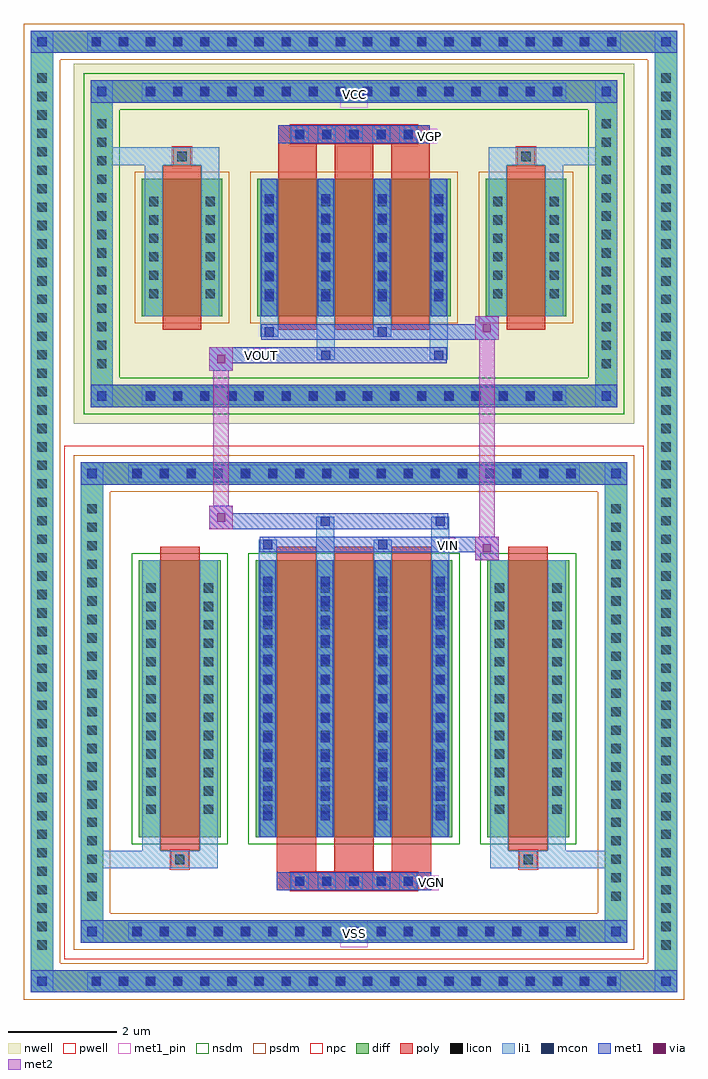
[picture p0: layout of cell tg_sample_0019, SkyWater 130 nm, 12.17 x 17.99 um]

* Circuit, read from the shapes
.subckt tg_sample_0019 VCC VGN VGP VIN VOUT VSS
XM1 VSS VSS VSS VSUBS sky130_fd_pr__nfet_01v8 w=5.1 l=0.73 m=2
XM2 VOUT VGN VIN VSUBS sky130_fd_pr__nfet_01v8 w=5.1 l=0.73 m=3
XM3 VCC VCC VCC n1 sky130_fd_pr__pfet_01v8 w=2.53 l=0.71 m=2
XM4 VOUT VGP VIN n1 sky130_fd_pr__pfet_01v8 w=2.53 l=0.71 m=3
.ends

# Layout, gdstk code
import gdstk
lib = gdstk.Library(unit=1e-6, precision=5e-09)
def R(c, l, rs):  # rectangles x0, y0, x1, y1
    for r in rs: c.add(gdstk.rectangle(r[:2], r[2:], *l))
def A(c, l, x, y, w, h, nx, ny, dx, dy):  # array of equal rectangles
    R(c, l, [(x+i*dx, y+j*dy, x+i*dx+w, y+j*dy+h) for i in range(nx) for j in range(ny)])
def P(c, l, *ps):  # polygons
    for p in ps: c.add(gdstk.Polygon(p, *l))
nwell = (64, 20)
pwell = (64, 44)
diff = (65, 20)
poly = (66, 20)
licon = (66, 44)
li1 = (67, 20)
mcon = (67, 44)
met1_pin = (68, 16)
met1 = (68, 20)
via = (68, 44)
met2 = (69, 20)
nsdm = (93, 44)
psdm = (94, 20)
npc = (95, 20)

tg_sample_0019 = lib.new_cell('tg_sample_0019')
R(tg_sample_0019, nwell, [(-5.165,5.135,5.165,11.775)])
R(tg_sample_0019, pwell, [(-5.345,-4.735,5.345,4.735)])
A(tg_sample_0019, diff, -4.955, -5.345, 0.41, 0.41, 20, 2, 0.5, 17.32)
A(tg_sample_0019, diff, -5.955, -4.675, 0.41, 0.41, 1, 48, 0, 0.34)
A(tg_sample_0019, diff, 5.545, -4.675, 0.41, 0.41, 1, 48, 0, 0.34)
A(tg_sample_0019, diff, -4.205, -4.425, 0.41, 0.41, 17, 2, 0.5, 8.44)
A(tg_sample_0019, diff, -5.035, -3.775, 0.41, 0.41, 1, 22, 0, 0.34)
A(tg_sample_0019, diff, 4.625, -3.775, 0.41, 0.41, 1, 22, 0, 0.34)
A(tg_sample_0019, diff, -3.955, 5.445, 0.41, 0.41, 16, 2, 0.5, 5.61)
A(tg_sample_0019, diff, -4.855, 6.04, 0.41, 0.41, 1, 14, 0, 0.34)
A(tg_sample_0019, diff, 4.445, 6.04, 0.41, 0.41, 1, 14, 0, 0.34)
R(tg_sample_0019, diff, [(-4.955,-5.345,4.955,-4.935), (-5.955,-4.675,-5.545,11.715), (5.545,-4.675,5.955,11.715), (-4.205,-4.425,4.205,-4.015), (-5.035,-3.775,-4.625,3.775), (4.625,-3.775,5.035,3.775), (-3.965,-2.48,-2.455,2.62), (-1.815,-2.48,1.815,2.62), (2.455,-2.48,3.965,2.62), (-4.205,4.015,4.205,4.425), (-3.955,5.445,3.955,5.855), (-4.855,6.04,-4.445,10.87), (4.445,6.04,4.855,10.87), (-3.915,7.12,-2.425,9.65), (-1.785,7.12,1.785,9.65), (2.425,7.12,3.915,9.65), (-3.955,11.055,3.955,11.465), (-4.955,11.975,4.955,12.385)])
P(tg_sample_0019, diff, [(5.035,4.425),(-5.035,4.425),(-5.035,-4.015),(-4.625,-4.015),(-4.625,4.015),(4.625,4.015),(4.625,-4.015),(-4.625,-4.015),(-5.035,-4.015),(-5.035,-4.425),(5.035,-4.425)],
  [(5.955,12.385),(-5.955,12.385),(-5.955,-4.935),(-5.545,-4.935),(-5.545,11.975),(5.545,11.975),(5.545,-4.935),(-5.545,-4.935),(-5.955,-4.935),(-5.955,-5.345),(5.955,-5.345)],
  [(4.855,5.445),(-4.855,5.445),(-4.855,11.055),(-4.445,11.055),(-4.445,5.855),(4.445,5.855),(4.445,11.055),(-4.445,11.055),(-4.855,11.055),(-4.855,11.465),(4.855,11.465)])
A(tg_sample_0019, poly, -1.165, -3.46, 0.33, 0.33, 5, 2, 0.5, 13.765)
A(tg_sample_0019, poly, -1.425, -3.13, 0.73, 0.4, 3, 1, 1.06, 0)
A(tg_sample_0019, poly, -1.425, -2.73, 0.73, 5.6, 3, 1, 1.06, 0)
A(tg_sample_0019, poly, -1.395, 6.87, 0.71, 3.03, 3, 1, 1.04, 0)
A(tg_sample_0019, poly, -1.395, 9.9, 0.71, 0.405, 3, 1, 1.04, 0)
R(tg_sample_0019, poly, [(-1.425,-3.46,1.425,-3.13), (-3.375,-3.06,-3.045,-2.73), (-3.375,-3.06,-3.045,-2.73), (3.045,-3.06,3.375,-2.73), (3.045,-3.06,3.375,-2.73), (-3.575,-2.73,-2.845,2.87), (2.845,-2.73,3.575,2.87), (-3.525,6.87,-2.815,9.9), (2.815,6.87,3.525,9.9), (-3.335,9.9,-3.005,10.23), (-3.335,9.9,-3.005,10.23), (3.005,9.9,3.335,10.23), (3.005,9.9,3.335,10.23), (-1.395,10.305,1.395,10.635)])
A(tg_sample_0019, licon, -4.835, -5.225, 0.17, 0.17, 20, 2, 0.5, 17.32)
A(tg_sample_0019, licon, -5.835, -4.555, 0.17, 0.17, 1, 48, 0, 0.34)
A(tg_sample_0019, licon, 5.665, -4.555, 0.17, 0.17, 1, 48, 0, 0.34)
A(tg_sample_0019, licon, -4.085, -4.305, 0.17, 0.17, 17, 2, 0.5, 8.44)
A(tg_sample_0019, licon, -4.915, -3.655, 0.17, 0.17, 1, 22, 0, 0.34)
A(tg_sample_0019, licon, 4.745, -3.655, 0.17, 0.17, 1, 22, 0, 0.34)
A(tg_sample_0019, licon, -1.085, -3.38, 0.17, 0.17, 5, 2, 0.5, 13.765)
A(tg_sample_0019, licon, -3.825, -2.055, 0.17, 0.17, 1, 13, 0, 0.34)
A(tg_sample_0019, licon, -2.765, -2.055, 0.17, 0.17, 1, 13, 0, 0.34)
A(tg_sample_0019, licon, -1.675, -2.055, 0.17, 0.17, 4, 13, 1.06, 0.34)
A(tg_sample_0019, licon, 2.595, -2.055, 0.17, 0.17, 1, 13, 0, 0.34)
A(tg_sample_0019, licon, 3.655, -2.055, 0.17, 0.17, 1, 13, 0, 0.34)
A(tg_sample_0019, licon, -3.835, 5.565, 0.17, 0.17, 16, 2, 0.5, 5.61)
A(tg_sample_0019, licon, -4.735, 6.16, 0.17, 0.17, 1, 14, 0, 0.34)
A(tg_sample_0019, licon, 4.565, 6.16, 0.17, 0.17, 1, 14, 0, 0.34)
A(tg_sample_0019, licon, -3.775, 7.45, 0.17, 0.17, 1, 6, 0, 0.34)
A(tg_sample_0019, licon, -2.735, 7.45, 0.17, 0.17, 1, 6, 0, 0.34)
A(tg_sample_0019, licon, -1.645, 7.45, 0.17, 0.17, 4, 6, 1.04, 0.34)
A(tg_sample_0019, licon, 2.565, 7.45, 0.17, 0.17, 1, 6, 0, 0.34)
A(tg_sample_0019, licon, 3.605, 7.45, 0.17, 0.17, 1, 6, 0, 0.34)
R(tg_sample_0019, licon, [(-3.295,-2.98,-3.125,-2.81), (3.125,-2.98,3.295,-2.81), (-3.255,9.98,-3.085,10.15), (3.085,9.98,3.255,10.15)])
A(tg_sample_0019, li1, -4.915, -5.305, 0.33, 0.33, 20, 2, 0.5, 17.32)
A(tg_sample_0019, li1, -5.915, -4.635, 0.33, 0.33, 1, 48, 0, 0.34)
A(tg_sample_0019, li1, 5.585, -4.635, 0.33, 0.33, 1, 48, 0, 0.34)
A(tg_sample_0019, li1, -4.165, -4.385, 0.33, 0.33, 17, 2, 0.5, 8.44)
A(tg_sample_0019, li1, -4.995, -3.735, 0.33, 0.33, 1, 22, 0, 0.34)
A(tg_sample_0019, li1, 4.665, -3.735, 0.33, 0.33, 1, 22, 0, 0.34)
A(tg_sample_0019, li1, -1.165, -3.46, 0.33, 0.33, 5, 2, 0.5, 13.765)
A(tg_sample_0019, li1, -1.755, -2.48, 0.33, 5.1, 4, 1, 1.06, 0)
A(tg_sample_0019, li1, -1.675, -2.175, 0.17, 0.17, 4, 13, 1.06, 0.36)
A(tg_sample_0019, li1, -1.675, -2.175, 0.17, 4.49, 4, 1, 1.06, 0)
A(tg_sample_0019, li1, -3.905, -2.135, 0.33, 0.33, 1, 13, 0, 0.34)
A(tg_sample_0019, li1, -2.845, -2.135, 0.33, 0.33, 1, 13, 0, 0.34)
A(tg_sample_0019, li1, -1.755, -2.135, 0.33, 0.33, 4, 13, 1.06, 0.34)
A(tg_sample_0019, li1, 2.515, -2.135, 0.33, 0.33, 1, 13, 0, 0.34)
A(tg_sample_0019, li1, 3.575, -2.135, 0.33, 0.33, 1, 13, 0, 0.34)
A(tg_sample_0019, li1, -3.915, 5.485, 0.33, 0.33, 16, 2, 0.5, 5.61)
A(tg_sample_0019, li1, -4.815, 6.08, 0.33, 0.33, 1, 14, 0, 0.34)
A(tg_sample_0019, li1, 4.485, 6.08, 0.33, 0.33, 1, 14, 0, 0.34)
A(tg_sample_0019, li1, -1.725, 7.12, 0.33, 2.53, 4, 1, 1.04, 0)
A(tg_sample_0019, li1, -3.855, 7.37, 0.33, 0.33, 1, 6, 0, 0.34)
A(tg_sample_0019, li1, -2.815, 7.37, 0.33, 0.33, 1, 6, 0, 0.34)
A(tg_sample_0019, li1, -1.725, 7.37, 0.33, 0.33, 4, 6, 1.04, 0.34)
A(tg_sample_0019, li1, 2.485, 7.37, 0.33, 0.33, 1, 6, 0, 0.34)
A(tg_sample_0019, li1, 3.525, 7.37, 0.33, 0.33, 1, 6, 0, 0.34)
A(tg_sample_0019, li1, -1.645, 7.4, 0.17, 0.17, 4, 6, 1.04, 0.36)
A(tg_sample_0019, li1, -1.645, 7.4, 0.17, 1.97, 4, 1, 1.04, 0)
R(tg_sample_0019, li1, [(-5.955,-5.345,-5.545,-4.935), (5.545,-5.345,5.955,-4.935), (-4.915,-5.305,4.915,-4.975), (-5.835,-5.225,-5.665,-5.055), (-5.835,-5.225,-5.665,-5.055), (5.665,-5.225,5.835,-5.055), (5.665,-5.225,5.835,-5.055), (-5.955,-4.935,-5.545,11.975), (5.545,-4.935,5.955,11.975), (-5.035,-4.425,-4.625,-4.015), (4.625,-4.425,5.035,-4.015), (-4.165,-4.385,4.165,-4.055), (-4.915,-4.305,-4.745,-4.135), (-4.915,-4.305,-4.745,-4.135), (4.745,-4.305,4.915,-4.135), (4.745,-4.305,4.915,-4.135), (-5.035,-4.015,-4.625,4.015), (4.625,-4.015,5.035,4.015), (-5.035,-3.06,-3.375,-2.73), (-3.905,-3.06,-3.375,-2.73), (-3.905,-3.06,-3.575,-2.48), (-3.375,-3.06,-3.045,-2.73), (-3.045,-3.06,-2.515,-2.73), (-2.845,-3.06,-2.515,-2.48), (2.515,-3.06,3.045,-2.73), (2.515,-3.06,2.845,-2.48), (3.045,-3.06,3.375,-2.73), (3.045,-3.06,5.035,-2.73), (3.375,-3.06,3.905,-2.73), (3.575,-3.06,3.905,-2.48), (-3.905,-2.48,-3.575,2.62), (-2.845,-2.48,-2.515,2.62), (2.515,-2.48,2.845,2.62), (3.575,-2.48,3.905,2.62), (-1.755,2.62,-1.425,2.995), (-0.695,2.62,-0.365,3.425), (0.365,2.62,0.695,2.995), (1.425,2.62,1.755,3.425), (-1.675,2.825,-1.505,2.995), (0.445,2.825,0.615,2.995), (-0.615,3.255,-0.445,3.425), (1.505,3.255,1.675,3.425), (-5.035,4.015,-4.625,4.425), (4.625,4.015,5.035,4.425), (-4.165,4.055,4.165,4.385), (-4.915,4.135,-4.745,4.305), (-4.915,4.135,-4.745,4.305), (4.745,4.135,4.915,4.305), (4.745,4.135,4.915,4.305), (-4.855,5.445,-4.445,5.855), (4.445,5.445,4.855,5.855), (-3.915,5.485,3.915,5.815), (-4.735,5.565,-4.565,5.735), (-4.735,5.565,-4.565,5.735), (4.565,5.565,4.735,5.735), (4.565,5.565,4.735,5.735), (-4.855,5.855,-4.445,11.055), (4.445,5.855,4.855,11.055), (-0.685,6.315,-0.355,7.12), (-0.605,6.315,-0.435,6.485), (1.395,6.315,1.725,7.12), (1.475,6.315,1.645,6.485), (-1.725,6.745,-1.395,7.12), (-1.645,6.745,-1.475,6.915), (0.355,6.745,0.685,7.12), (0.435,6.745,0.605,6.915), (-3.855,7.12,-3.525,9.65), (-2.815,7.12,-2.485,9.65), (2.485,7.12,2.815,9.65), (3.525,7.12,3.855,9.65), (-3.855,9.65,-3.525,10.23), (-2.815,9.65,-2.485,10.23), (2.485,9.65,2.815,10.23), (3.525,9.65,3.855,10.23), (-4.855,9.9,-3.335,10.23), (-3.855,9.9,-3.335,10.23), (-3.335,9.9,-3.005,10.23), (-3.005,9.9,-2.485,10.23), (2.485,9.9,3.005,10.23), (3.005,9.9,3.335,10.23), (3.005,9.9,4.855,10.23), (3.335,9.9,3.855,10.23), (-4.855,11.055,-4.445,11.465), (4.445,11.055,4.855,11.465), (-3.915,11.095,3.915,11.425), (-4.735,11.175,-4.565,11.345), (-4.735,11.175,-4.565,11.345), (4.565,11.175,4.735,11.345), (4.565,11.175,4.735,11.345), (-5.955,11.975,-5.545,12.385), (5.545,11.975,5.955,12.385), (-4.915,12.015,4.915,12.345), (-5.835,12.095,-5.665,12.265), (-5.835,12.095,-5.665,12.265), (5.665,12.095,5.835,12.265), (5.665,12.095,5.835,12.265)])
A(tg_sample_0019, mcon, -4.835, -5.225, 0.17, 0.17, 20, 2, 0.5, 17.32)
A(tg_sample_0019, mcon, -4.085, -4.305, 0.17, 0.17, 17, 2, 0.5, 8.44)
A(tg_sample_0019, mcon, -1.085, -3.38, 0.17, 0.17, 5, 2, 0.5, 13.765)
A(tg_sample_0019, mcon, -1.675, -2.175, 0.17, 0.17, 4, 13, 1.06, 0.36)
A(tg_sample_0019, mcon, -3.835, 5.565, 0.17, 0.17, 16, 2, 0.5, 5.61)
A(tg_sample_0019, mcon, -1.645, 7.4, 0.17, 0.17, 4, 6, 1.04, 0.36)
R(tg_sample_0019, mcon, [(-5.835,-5.225,-5.665,-5.055), (5.665,-5.225,5.835,-5.055), (-4.915,-4.305,-4.745,-4.135), (4.745,-4.305,4.915,-4.135), (-1.675,2.825,-1.505,2.995), (0.445,2.825,0.615,2.995), (-0.615,3.255,-0.445,3.425), (1.505,3.255,1.675,3.425), (-4.915,4.135,-4.745,4.305), (4.745,4.135,4.915,4.305), (-4.735,5.565,-4.565,5.735), (4.565,5.565,4.735,5.735), (-0.605,6.315,-0.435,6.485), (1.475,6.315,1.645,6.485), (-1.645,6.745,-1.475,6.915), (0.435,6.745,0.605,6.915), (-4.735,11.175,-4.565,11.345), (4.565,11.175,4.735,11.345), (-5.835,12.095,-5.665,12.265), (5.665,12.095,5.835,12.265)])
R(tg_sample_0019, met1_pin, [(-0.25,-4.515,0.25,-4.015), (1.29,-3.46,1.56,-3.19), (1.6,2.765,1.87,3.035), (-1.84,6.255,-1.57,6.525), (1.26,10.305,1.53,10.575), (-0.25,10.965,0.25,11.465)])
A(tg_sample_0019, met1, -4.895, -5.285, 0.29, 0.29, 20, 2, 0.5, 17.32)
A(tg_sample_0019, met1, -4.145, -4.365, 0.29, 0.29, 17, 2, 0.5, 8.44)
A(tg_sample_0019, met1, -1.145, -3.44, 0.29, 0.29, 5, 2, 0.5, 13.765)
A(tg_sample_0019, met1, -1.735, -2.48, 0.29, 5.1, 4, 1, 1.06, 0)
A(tg_sample_0019, met1, -1.735, -2.235, 0.29, 0.29, 4, 13, 1.06, 0.36)
A(tg_sample_0019, met1, -3.895, 5.505, 0.29, 0.29, 16, 2, 0.5, 5.61)
A(tg_sample_0019, met1, -1.705, 7.12, 0.29, 2.53, 4, 1, 1.04, 0)
A(tg_sample_0019, met1, -1.705, 7.34, 0.29, 0.29, 4, 6, 1.04, 0.36)
R(tg_sample_0019, met1, [(-5.955,-5.345,-5.545,-4.935), (-5.955,-5.345,-5.545,-4.935), (-5.545,-5.345,5.545,-4.935), (5.545,-5.345,5.955,-4.935), (5.545,-5.345,5.955,-4.935), (-5.895,-5.285,-5.605,-4.995), (5.605,-5.285,5.895,-4.995), (-5.035,-4.425,-4.625,-4.015), (-5.035,-4.425,-4.625,-4.015), (-4.625,-4.425,4.625,-4.015), (4.625,-4.425,5.035,-4.015), (4.625,-4.425,5.035,-4.015), (-4.975,-4.365,-4.685,-4.075), (4.685,-4.365,4.975,-4.075), (-1.425,-3.46,1.425,-3.13), (2.235,2.625,2.665,3.055), (-1.735,2.765,-1.445,3.055), (-1.735,2.765,1.735,3.055), (0.385,2.765,0.675,3.055), (1.735,2.765,2.665,3.055), (-2.665,3.195,-1.735,3.485), (-2.665,3.195,-2.235,3.625), (-1.735,3.195,1.735,3.485), (-0.675,3.195,-0.385,3.485), (1.445,3.195,1.735,3.485), (-5.035,4.015,-4.625,4.425), (-5.035,4.015,-4.625,4.425), (-4.625,4.015,4.625,4.425), (4.625,4.015,5.035,4.425), (4.625,4.015,5.035,4.425), (-4.975,4.075,-4.685,4.365), (4.685,4.075,4.975,4.365), (-4.855,5.445,-4.445,5.855), (-4.855,5.445,-4.445,5.855), (-4.445,5.445,4.445,5.855), (4.445,5.445,4.855,5.855), (4.445,5.445,4.855,5.855), (-4.795,5.505,-4.505,5.795), (4.505,5.505,4.795,5.795), (-2.665,6.115,-2.235,6.545), (-2.665,6.255,-1.705,6.545), (-1.705,6.255,1.705,6.545), (-0.665,6.255,-0.375,6.545), (1.415,6.255,1.705,6.545), (-1.705,6.685,-1.415,6.975), (-1.705,6.685,1.705,6.975), (0.375,6.685,0.665,6.975), (1.705,6.685,2.665,6.975), (2.235,6.685,2.665,7.115), (-1.395,10.305,1.395,10.635), (-4.855,11.055,-4.445,11.465), (-4.855,11.055,-4.445,11.465), (-4.445,11.055,4.445,11.465), (4.445,11.055,4.855,11.465), (4.445,11.055,4.855,11.465), (-4.795,11.115,-4.505,11.405), (4.505,11.115,4.795,11.405), (-5.955,11.975,-5.545,12.385), (-5.955,11.975,-5.545,12.385), (-5.545,11.975,5.545,12.385), (5.545,11.975,5.955,12.385), (5.545,11.975,5.955,12.385), (-5.895,12.035,-5.605,12.325), (5.605,12.035,5.895,12.325)])
R(tg_sample_0019, via, [(2.375,2.765,2.525,2.915), (-2.525,3.335,-2.375,3.485), (-2.525,6.255,-2.375,6.405), (2.375,6.825,2.525,6.975)])
R(tg_sample_0019, met2, [(2.235,2.625,2.665,3.055), (2.305,2.625,2.595,7.115), (2.595,2.625,2.665,3.055), (2.285,2.675,2.615,3.005), (-2.665,3.195,-2.235,3.625), (-2.595,3.195,-2.305,6.545), (-2.305,3.195,-2.235,3.625), (-2.615,3.245,-2.285,3.575), (-2.665,6.115,-2.235,6.545), (-2.305,6.115,-2.235,6.545), (-2.615,6.165,-2.285,6.495), (2.235,6.685,2.665,7.115), (2.595,6.685,2.665,7.115), (2.285,6.735,2.615,7.065)])
R(tg_sample_0019, nsdm, [(-4.095,-2.61,-2.325,2.75), (-1.945,-2.61,1.945,2.75), (2.325,-2.61,4.095,2.75)])
P(tg_sample_0019, nsdm, [(4.985,5.315),(-4.985,5.315),(-4.985,10.925),(-4.315,10.925),(-4.315,5.985),(4.315,5.985),(4.315,10.925),(-4.315,10.925),(-4.985,10.925),(-4.985,11.595),(4.985,11.595)])
R(tg_sample_0019, psdm, [(-4.045,6.99,-2.295,9.78), (-1.915,6.99,1.915,9.78), (2.295,6.99,4.045,9.78)])
P(tg_sample_0019, psdm, [(5.165,4.555),(-5.165,4.555),(-5.165,-3.885),(-4.495,-3.885),(-4.495,3.885),(4.495,3.885),(4.495,-3.885),(-4.495,-3.885),(-5.165,-3.885),(-5.165,-4.555),(5.165,-4.555)],
  [(6.085,12.515),(-6.085,12.515),(-6.085,-4.805),(-5.415,-4.805),(-5.415,11.845),(5.415,11.845),(5.415,-4.805),(-5.415,-4.805),(-6.085,-4.805),(-6.085,-5.475),(6.085,-5.475)])
A(tg_sample_0019, npc, -1.185, -3.48, 0.37, 0.37, 5, 2, 0.5, 13.765)
R(tg_sample_0019, npc, [(-1.185,-3.48,-0.315,-3.11), (-1.185,-3.48,-0.315,-3.11), (-0.685,-3.48,0.185,-3.11), (-0.685,-3.48,0.185,-3.11), (-0.185,-3.48,0.685,-3.11), (-0.185,-3.48,0.685,-3.11), (0.315,-3.48,1.185,-3.11), (0.315,-3.48,1.185,-3.11), (-3.395,-3.08,-3.025,-2.71), (3.025,-3.08,3.395,-2.71), (-3.355,9.88,-2.985,10.25), (2.985,9.88,3.355,10.25), (-1.185,10.285,-0.315,10.655), (-1.185,10.285,-0.315,10.655), (-0.685,10.285,0.185,10.655), (-0.685,10.285,0.185,10.655), (-0.185,10.285,0.685,10.655), (-0.185,10.285,0.685,10.655), (0.315,10.285,1.185,10.655), (0.315,10.285,1.185,10.655)])
tg_sample_0019.add(gdstk.Label('VIN', (1.735,2.9), layer=68, texttype=5))
tg_sample_0019.add(gdstk.Label('VGN', (1.425,-3.325), layer=68, texttype=5))
tg_sample_0019.add(gdstk.Label('VGP', (1.395,10.44), layer=68, texttype=5))
tg_sample_0019.add(gdstk.Label('VSS', (0,-4.265), layer=68, texttype=5))
tg_sample_0019.add(gdstk.Label('VCC', (0,11.215), layer=68, texttype=5))
tg_sample_0019.add(gdstk.Label('VOUT', (-1.705,6.39), layer=68, texttype=5))

lib.write_gds('tg_sample_0019.gds')
